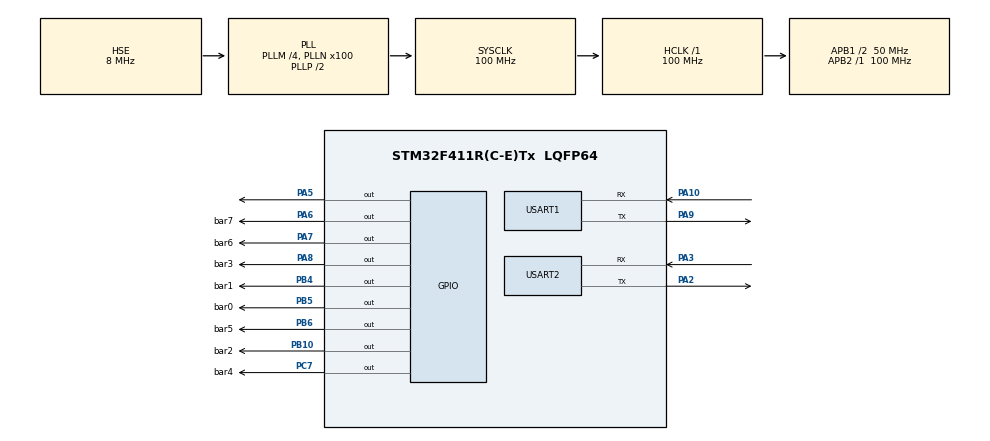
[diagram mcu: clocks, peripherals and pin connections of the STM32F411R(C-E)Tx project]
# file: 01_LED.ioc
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Mcu.Family=STM32F4
Mcu.Name=STM32F411R(C-E)Tx
Mcu.Package=LQFP64
NVIC.PriorityGroup=NVIC_PRIORITYGROUP_4
PA10.Mode=Asynchronous
PA10.Signal=USART1_RX
PA13.Mode=Serial_Wire
PA13.Signal=SYS_JTMS-SWDIO
PA14.Mode=Serial_Wire
PA14.Signal=SYS_JTCK-SWCLK
PA2.Mode=Asynchronous
PA2.Signal=USART2_TX
PA3.Mode=Asynchronous
PA3.Signal=USART2_RX
PA5.Signal=GPIO_Output
PA6.GPIO_Label=bar7
PA6.Signal=GPIO_Output
PA7.GPIO_Label=bar6
PA7.Signal=GPIO_Output
PA8.GPIO_Label=bar3
PA8.Signal=GPIO_Output
PA9.Mode=Asynchronous
PA9.Signal=USART1_TX
PB10.GPIO_Label=bar2
PB10.Signal=GPIO_Output
PB4.GPIO_Label=bar1
PB4.Signal=GPIO_Output
PB5.GPIO_Label=bar0
PB5.Signal=GPIO_Output
PB6.GPIO_Label=bar5
PB6.Signal=GPIO_Output
PC7.GPIO_Label=bar4
PC7.Signal=GPIO_Output
PH0\ -\ OSC_IN.Mode=HSE-External-Oscillator
PH0\ -\ OSC_IN.Signal=RCC_OSC_IN
PH1\ -\ OSC_OUT.Mode=HSE-External-Oscillator
PH1\ -\ OSC_OUT.Signal=RCC_OSC_OUT
ProjectManager.HeapSize=0x200
ProjectManager.StackSize=0x400
ProjectManager.TargetToolchain=STM32CubeIDE
RCC.48MHZClocksFreq_Value=50000000
RCC.AHBFreq_Value=100000000
RCC.APB1CLKDivider=RCC_HCLK_DIV2
RCC.APB1Freq_Value=50000000
RCC.APB1TimFreq_Value=100000000
RCC.APB2Freq_Value=100000000
RCC.APB2TimFreq_Value=100000000
RCC.CortexFreq_Value=100000000
RCC.HCLKFreq_Value=100000000
RCC.HSE_VALUE=8000000
RCC.HSI_VALUE=16000000
RCC.LSE_VALUE=32768
RCC.PLLM=4
RCC.PLLN=100
RCC.PLLSourceVirtual=RCC_PLLSOURCE_HSE
RCC.SYSCLKFreq_VALUE=100000000
RCC.SYSCLKSource=RCC_SYSCLKSOURCE_PLLCLK
RCC.VCOOutputFreq_Value=200000000
USART1.VirtualMode=VM_ASYNC
USART2.VirtualMode=VM_ASYNC
board=custom

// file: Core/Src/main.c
/* USER CODE BEGIN Header */
/**
  ******************************************************************************
  * @file           : main.c
  * @brief          : Main program body
  ******************************************************************************
  * @attention
  *
  * Copyright (c) 2024 STMicroelectronics.
  * All rights reserved.
  *
  * This software is licensed under terms that can be found in the LICENSE file
  * in the root directory of this software component.
  * If no LICENSE file comes with this software, it is provided AS-IS.
  *
  ******************************************************************************
  */
/* USER CODE END Header */
#include "main.h"

/* USER CODE BEGIN PTD */
typedef struct
{
  GPIO_TypeDef  *port;
  uint16_t      pinNumber;
  GPIO_PinState onState;
  GPIO_PinState offState;
}LED_TBL;

LED_TBL led_tbl[8]=
    {
        {GPIOB, bar0_Pin, GPIO_PIN_SET, GPIO_PIN_RESET},
        {GPIOB, bar1_Pin, GPIO_PIN_SET, GPIO_PIN_RESET},
        {GPIOB, bar2_Pin, GPIO_PIN_SET, GPIO_PIN_RESET},
        {GPIOA, bar3_Pin, GPIO_PIN_SET, GPIO_PIN_RESET},
        {GPIOC, bar4_Pin, GPIO_PIN_SET, GPIO_PIN_RESET},
        {GPIOB, bar5_Pin, GPIO_PIN_SET, GPIO_PIN_RESET},
        {GPIOA, bar6_Pin, GPIO_PIN_SET, GPIO_PIN_RESET},
        {GPIOA, bar7_Pin, GPIO_PIN_SET, GPIO_PIN_RESET}
    };

void ledOn(uint8_t ch)
{
  HAL_GPIO_WritePin(led_tbl[ch].port, led_tbl[ch].pinNumber, led_tbl[ch].onState);
}

void ledOff(uint8_t ch)
{
  HAL_GPIO_WritePin(led_tbl[ch].port, led_tbl[ch].pinNumber, led_tbl[ch].offState);
}

void ledToggle(uint8_t ch)
{
  HAL_GPIO_TogglePin(led_tbl[ch].port, led_tbl[ch].pinNumber);
}
/* USER CODE END PTD */

UART_HandleTypeDef huart1;
UART_HandleTypeDef huart2;

void SystemClock_Config(void);
static void MX_GPIO_Init(void);
static void MX_USART1_UART_Init(void);
static void MX_USART2_UART_Init(void);

int main(void)
{

  /* MCU Configuration--------------------------------------------------------*/

  /* Reset of all peripherals, Initializes the Flash interface and the Systick. */
  HAL_Init();

  /* Configure the system clock */
  SystemClock_Config();

  /* Initialize all configured peripherals */
  MX_GPIO_Init();
  MX_USART1_UART_Init();
  MX_USART2_UART_Init();

  /* Infinite loop */
  /* USER CODE BEGIN WHILE */
  while (1)
  {
      for(uint8_t i = 0; i<8; i++){
          ledOn(i);
          HAL_Delay(100);
      }
      for(uint8_t i = 0; i<8; i++)
        {
          ledOff(i);
          HAL_Delay(100);
        }
    /* USER CODE END WHILE */

  }
}

void SystemClock_Config(void)
{
  RCC_OscInitTypeDef RCC_OscInitStruct = {0};
  RCC_ClkInitTypeDef RCC_ClkInitStruct = {0};

  /** Configure the main internal regulator output voltage
  */
  __HAL_RCC_PWR_CLK_ENABLE();
  __HAL_PWR_VOLTAGESCALING_CONFIG(PWR_REGULATOR_VOLTAGE_SCALE1);

  /** Initializes the RCC Oscillators according to the specified parameters
  * in the RCC_OscInitTypeDef structure.
  */
  RCC_OscInitStruct.OscillatorType = RCC_OSCILLATORTYPE_HSE;
  RCC_OscInitStruct.HSEState = RCC_HSE_ON;
  RCC_OscInitStruct.PLL.PLLState = RCC_PLL_ON;
  RCC_OscInitStruct.PLL.PLLSource = RCC_PLLSOURCE_HSE;
  RCC_OscInitStruct.PLL.PLLM = 4;
  RCC_OscInitStruct.PLL.PLLN = 100;
  RCC_OscInitStruct.PLL.PLLP = RCC_PLLP_DIV2;
  RCC_OscInitStruct.PLL.PLLQ = 4;
  if (HAL_RCC_OscConfig(&RCC_OscInitStruct) != HAL_OK)
  {
    Error_Handler();
  }

  /** Initializes the CPU, AHB and APB buses clocks
  */
  RCC_ClkInitStruct.ClockType = RCC_CLOCKTYPE_HCLK|RCC_CLOCKTYPE_SYSCLK
                              |RCC_CLOCKTYPE_PCLK1|RCC_CLOCKTYPE_PCLK2;
  RCC_ClkInitStruct.SYSCLKSource = RCC_SYSCLKSOURCE_PLLCLK;
  RCC_ClkInitStruct.AHBCLKDivider = RCC_SYSCLK_DIV1;
  RCC_ClkInitStruct.APB1CLKDivider = RCC_HCLK_DIV2;
  RCC_ClkInitStruct.APB2CLKDivider = RCC_HCLK_DIV1;

  if (HAL_RCC_ClockConfig(&RCC_ClkInitStruct, FLASH_LATENCY_3) != HAL_OK)
  {
    Error_Handler();
  }
}

static void MX_USART1_UART_Init(void)
{

  huart1.Instance = USART1;
  huart1.Init.BaudRate = 115200;
  huart1.Init.WordLength = UART_WORDLENGTH_8B;
  huart1.Init.StopBits = UART_STOPBITS_1;
  huart1.Init.Parity = UART_PARITY_NONE;
  huart1.Init.Mode = UART_MODE_TX_RX;
  huart1.Init.HwFlowCtl = UART_HWCONTROL_NONE;
  huart1.Init.OverSampling = UART_OVERSAMPLING_16;
  if (HAL_UART_Init(&huart1) != HAL_OK)
  {
    Error_Handler();
  }

}

static void MX_USART2_UART_Init(void)
{

  huart2.Instance = USART2;
  huart2.Init.BaudRate = 115200;
  huart2.Init.WordLength = UART_WORDLENGTH_8B;
  huart2.Init.StopBits = UART_STOPBITS_1;
  huart2.Init.Parity = UART_PARITY_NONE;
  huart2.Init.Mode = UART_MODE_TX_RX;
  huart2.Init.HwFlowCtl = UART_HWCONTROL_NONE;
  huart2.Init.OverSampling = UART_OVERSAMPLING_16;
  if (HAL_UART_Init(&huart2) != HAL_OK)
  {
    Error_Handler();
  }

}

static void MX_GPIO_Init(void)
{
  GPIO_InitTypeDef GPIO_InitStruct = {0};

  /* GPIO Ports Clock Enable */
  __HAL_RCC_GPIOH_CLK_ENABLE();
  __HAL_RCC_GPIOA_CLK_ENABLE();
  __HAL_RCC_GPIOB_CLK_ENABLE();
  __HAL_RCC_GPIOC_CLK_ENABLE();

  /*Configure GPIO pin Output Level */
  HAL_GPIO_WritePin(GPIOA, GPIO_PIN_5|bar7_Pin|bar6_Pin|bar3_Pin, GPIO_PIN_RESET);

  /*Configure GPIO pin Output Level */
  HAL_GPIO_WritePin(GPIOB, bar2_Pin|bar1_Pin|bar0_Pin|bar5_Pin, GPIO_PIN_RESET);

  /*Configure GPIO pin Output Level */
  HAL_GPIO_WritePin(bar4_GPIO_Port, bar4_Pin, GPIO_PIN_RESET);

  /*Configure GPIO pins : PA5 bar7_Pin bar6_Pin bar3_Pin */
  GPIO_InitStruct.Pin = GPIO_PIN_5|bar7_Pin|bar6_Pin|bar3_Pin;
  GPIO_InitStruct.Mode = GPIO_MODE_OUTPUT_PP;
  GPIO_InitStruct.Pull = GPIO_NOPULL;
  GPIO_InitStruct.Speed = GPIO_SPEED_FREQ_LOW;
  HAL_GPIO_Init(GPIOA, &GPIO_InitStruct);

  /*Configure GPIO pins : bar2_Pin bar1_Pin bar0_Pin bar5_Pin */
  GPIO_InitStruct.Pin = bar2_Pin|bar1_Pin|bar0_Pin|bar5_Pin;
  GPIO_InitStruct.Mode = GPIO_MODE_OUTPUT_PP;
  GPIO_InitStruct.Pull = GPIO_NOPULL;
  GPIO_InitStruct.Speed = GPIO_SPEED_FREQ_LOW;
  HAL_GPIO_Init(GPIOB, &GPIO_InitStruct);

  /*Configure GPIO pin : bar4_Pin */
  GPIO_InitStruct.Pin = bar4_Pin;
  GPIO_InitStruct.Mode = GPIO_MODE_OUTPUT_PP;
  GPIO_InitStruct.Pull = GPIO_NOPULL;
  GPIO_InitStruct.Speed = GPIO_SPEED_FREQ_LOW;
  HAL_GPIO_Init(bar4_GPIO_Port, &GPIO_InitStruct);

}

void Error_Handler(void)
{
  __disable_irq();
  while (1)
  {
  }
}
